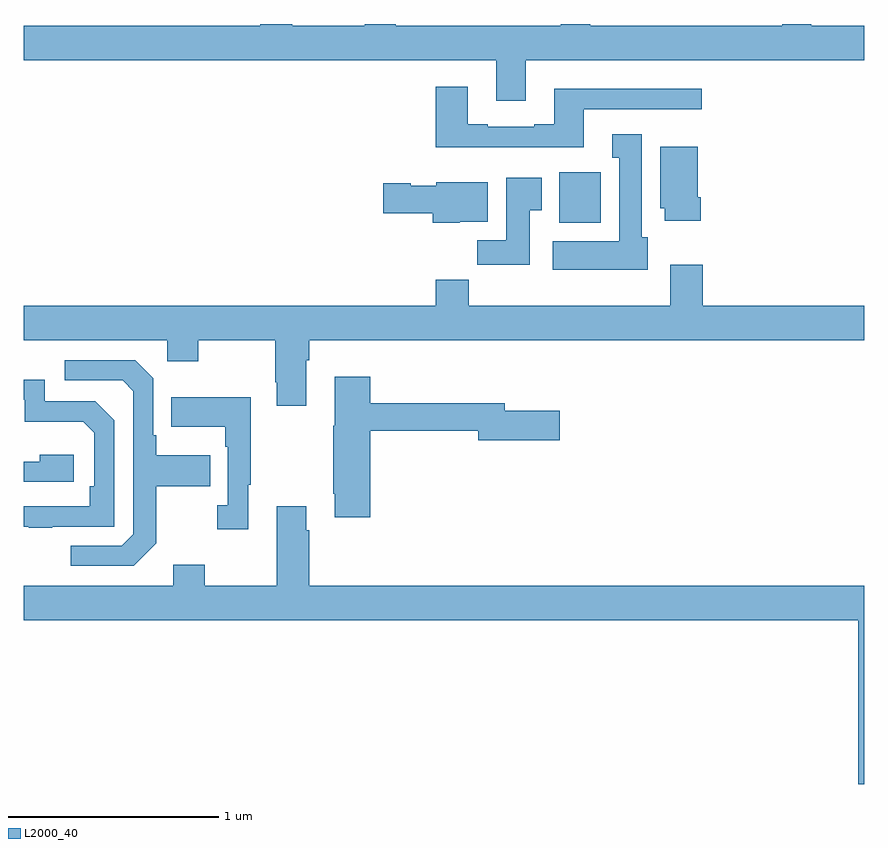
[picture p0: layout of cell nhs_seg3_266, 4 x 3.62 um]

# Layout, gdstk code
import gdstk
lib = gdstk.Library(unit=1e-6, precision=1e-09)
def R(c, l, rs):  # rectangles x0, y0, x1, y1
    for r in rs: c.add(gdstk.rectangle(r[:2], r[2:], *l))
def P(c, l, *ps):  # polygons
    for p in ps: c.add(gdstk.Polygon(p, *l))
L2000_40 = (2000, 40)

nhs_seg3_266 = lib.new_cell('nhs_seg3_266')
R(nhs_seg3_266, L2000_40, [(125.549,721.454,125.746,721.696)])
P(nhs_seg3_266, L2000_40, [(125.389,722.228),(127,722.228),(127,722.392),(126.747,722.392),(126.747,722.4),(126.609,722.4),(126.609,722.392),(125.695,722.392),(125.695,722.4),(125.555,722.4),(125.555,722.392),(124.771,722.392),(124.771,722.4),(124.624,722.4),(124.624,722.392),(124.279,722.392),(124.279,722.4),(124.127,722.4),(124.127,722.392),(123,722.392),(123,722.228),(125.249,722.228),(125.249,722.034),(125.389,722.034)],
  [(125.665,721.995),(126.226,721.995),(126.226,722.092),(125.525,722.092),(125.525,721.924),(125.429,721.924),(125.429,721.911),(125.209,721.911),(125.209,721.924),(125.113,721.924),(125.113,722.101),(124.961,722.101),(124.961,721.814),(125.665,721.814)],
  [(125.968,721.386),(125.941,721.386),(125.941,721.876),(125.801,721.876),(125.801,721.763),(125.834,721.763),(125.834,721.366),(125.517,721.366),(125.517,721.232),(125.968,721.232)],
  [(126.221,721.576),(126.208,721.576),(126.208,721.816),(126.029,721.816),(126.029,721.524),(126.05,721.524),(126.05,721.464),(126.221,721.464)],
  [(125.407,721.513),(125.464,721.513),(125.464,721.669),(125.297,721.669),(125.297,721.372),(125.158,721.372),(125.158,721.254),(125.407,721.254)],
  [(125.076,721.46),(125.209,721.46),(125.209,721.648),(124.962,721.648),(124.962,721.63),(124.842,721.63),(124.842,721.643),(124.71,721.643),(124.71,721.501),(124.946,721.501),(124.946,721.454),(125.076,721.454)],
  [(124.345,720.8),(124.358,720.8),(124.358,720.896),(127,720.896),(127,721.06),(126.23,721.06),(126.23,721.255),(126.077,721.255),(126.077,721.06),(125.117,721.06),(125.117,721.184),(124.961,721.184),(124.961,721.06),(123,721.06),(123,720.896),(123.684,720.896),(123.684,720.797),(123.831,720.797),(123.831,720.896),(124.198,720.896),(124.198,720.697),(124.205,720.697),(124.205,720.585),(124.345,720.585)],
  [(123.631,719.929),(123.631,720.202),(123.887,720.202),(123.887,720.349),(123.631,720.349),(123.631,720.445),(123.618,720.445),(123.618,720.714),(123.531,720.801),(123.195,720.801),(123.195,720.705),(123.471,720.705),(123.522,720.654),(123.522,719.973),(123.468,719.919),(123.225,719.919),(123.225,719.823),(123.525,719.823)],
  [(124.649,720.466),(125.162,720.466),(125.162,720.419),(125.551,720.419),(125.551,720.561),(125.29,720.561),(125.29,720.595),(124.649,720.595),(124.649,720.721),(124.481,720.721),(124.481,720.489),(124.474,720.489),(124.474,720.166),(124.481,720.166),(124.481,720.054),(124.649,720.054)],
  [(123.137,720.009),(123.432,720.009),(123.432,720.516),(123.342,720.606),(123.102,720.606),(123.102,720.708),(123,720.708),(123,720.612),(123.006,720.612),(123.006,720.509),(123.283,720.509),(123.336,720.456),(123.336,720.202),(123.316,720.202),(123.316,720.105),(123,720.105),(123,720.009),(123.025,720.009),(123.025,720.004),(123.137,720.004)],
  [(124.069,720.209),(124.081,720.209),(124.081,720.625),(123.703,720.625),(123.703,720.485),(123.96,720.485),(123.96,720.389),(123.972,720.389),(123.972,720.11),(123.921,720.11),(123.921,719.997),(124.069,719.997)],
  [(123.238,720.352),(123.077,720.352),(123.077,720.318),(123,720.318),(123,720.222),(123.238,720.222)],
  [(127,719.728),(124.358,719.728),(124.358,719.993),(124.345,719.993),(124.345,720.106),(124.205,720.106),(124.205,719.728),(123.861,719.728),(123.861,719.827),(123.713,719.827),(123.713,719.728),(123,719.728),(123,719.564),(126.971,719.564),(126.971,718.785),(127,718.785)])

lib.write_gds('nhs_seg3_266.gds')
